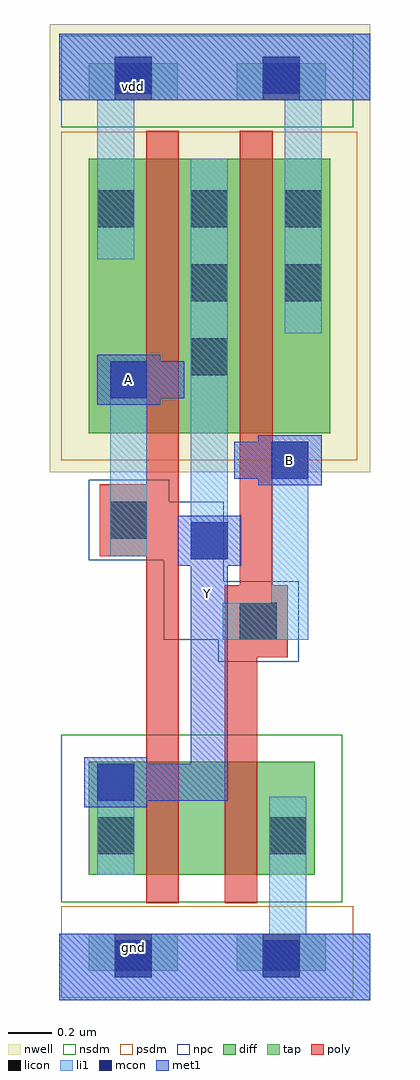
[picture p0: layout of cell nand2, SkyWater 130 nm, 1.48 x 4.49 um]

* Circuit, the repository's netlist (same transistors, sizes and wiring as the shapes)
* NGSPICE file created from nand2.ext - technology: sky130A

.subckt nand2 Y A B vdd gnd
X0 vdd B Y vdd sky130_fd_pr__pfet_01v8 ad=0.334 pd=3.05 as=0.176 ps=1.54 w=1.26 l=0.15
X1 Y A vdd vdd sky130_fd_pr__pfet_01v8 ad=0.176 pd=1.54 as=0.334 ps=3.05 w=1.26 l=0.15
X2 a_110_115# A Y gnd sky130_fd_pr__nfet_01v8 ad=0.0546 pd=0.73 as=0.138 ps=1.57 w=0.52 l=0.15
X3 gnd B a_110_115# gnd sky130_fd_pr__nfet_01v8 ad=0.138 pd=1.57 as=0.0546 ps=0.73 w=0.52 l=0.15
.ends

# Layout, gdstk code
import gdstk
lib = gdstk.Library(unit=1e-6, precision=1e-09)
def R(c, l, rs):  # rectangles x0, y0, x1, y1
    for r in rs: c.add(gdstk.rectangle(r[:2], r[2:], *l))
def A(c, l, x, y, w, h, nx, ny, dx, dy):  # array of equal rectangles
    R(c, l, [(x+i*dx, y+j*dy, x+i*dx+w, y+j*dy+h) for i in range(nx) for j in range(ny)])
nwell = (64, 20)
diff = (65, 20)
tap = (65, 44)
poly = (66, 20)
licon = (66, 44)
li1 = (67, 20)
mcon = (67, 44)
met1 = (68, 20)
nsdm = (93, 44)
psdm = (94, 20)
npc = (95, 20)

nand2 = lib.new_cell('nand2')
R(nand2, nwell, [(-0.045,2.425,1.43,4.485)])
R(nand2, diff, [(0.135,0.575,1.175,1.095), (0.135,2.605,1.245,3.865)])
R(nand2, tap, [(0.135,0.135,0.545,0.305), (0.815,0.135,1.225,0.305), (0.135,4.135,0.545,4.305), (0.815,4.135,1.225,4.305)])
R(nand2, poly, [(0.4,0.445,0.55,2.04), (0.76,0.445,0.91,1.575), (0.76,1.575,1.05,1.905), (0.83,1.905,0.98,3.995), (0.185,2.04,0.55,2.37), (0.4,2.37,0.55,3.995)])
A(nand2, licon, 0.175, 3.55, 0.17, 0.17, 3, 1, 0.43, 0)
R(nand2, licon, [(0.255,0.135,0.425,0.305), (0.935,0.135,1.105,0.305), (0.175,0.67,0.345,0.84), (0.965,0.67,1.135,0.84), (0.83,1.655,1,1.825), (0.235,2.12,0.405,2.29), (0.605,2.87,0.775,3.04), (0.605,3.21,0.775,3.38), (1.035,3.21,1.205,3.38), (0.255,4.135,0.425,4.305), (0.935,4.135,1.105,4.305)])
R(nand2, li1, [(0,0,1.43,0.305), (0.965,0.305,1.135,0.935), (0.175,0.575,0.345,1.085), (0.75,1.655,1.145,1.825), (0.975,1.825,1.145,2.565), (0.605,2.025,0.775,3.865), (0.235,2.04,0.405,2.935), (1.035,3.065,1.205,4.135), (0.175,3.405,0.345,4.135), (0,4.135,1.43,4.44)])
R(nand2, mcon, [(0.255,0.105,0.425,0.275), (0.935,0.105,1.105,0.275), (0.175,0.915,0.345,1.085), (0.605,2.025,0.775,2.195), (0.975,2.395,1.145,2.565), (0.235,2.765,0.405,2.935), (0.255,4.165,0.425,4.335), (0.935,4.165,1.105,4.335)])
R(nand2, met1, [(0,0,1.43,0.305), (0.115,0.885,0.405,0.915), (0.115,0.915,0.775,1.085), (0.115,1.085,0.405,1.115), (0.605,1.085,0.775,1.995), (0.545,1.995,0.835,2.225), (0.915,2.365,1.205,2.395), (0.805,2.395,1.205,2.565), (0.915,2.565,1.205,2.595), (0.175,2.735,0.465,2.765), (0.175,2.765,0.575,2.935), (0.175,2.935,0.465,2.965), (0,4.135,1.43,4.44)])
R(nand2, nsdm, [(0.01,0.45,1.3,1.22), (0.01,4.01,1.35,4.43)])
R(nand2, psdm, [(0.01,0.01,1.35,0.43), (0.01,2.48,1.37,3.99)])
R(nand2, npc, [(0.73,1.555,1.1,1.655), (0.48,1.655,1.1,1.925), (0.48,1.925,0.755,2.02), (0.135,2.02,0.755,2.29), (0.135,2.29,0.505,2.39)])
nand2.add(gdstk.Label('Y', (0.68,1.87), layer=68, texttype=5))
nand2.add(gdstk.Label('A', (0.32,2.85), layer=68, texttype=5))
nand2.add(gdstk.Label('B', (1.06,2.48), layer=68, texttype=5))
nand2.add(gdstk.Label('vdd', (0.34,4.2), layer=68, texttype=5))
nand2.add(gdstk.Label('gnd', (0.34,0.24), layer=68, texttype=5))

lib.write_gds('nand2.gds')
